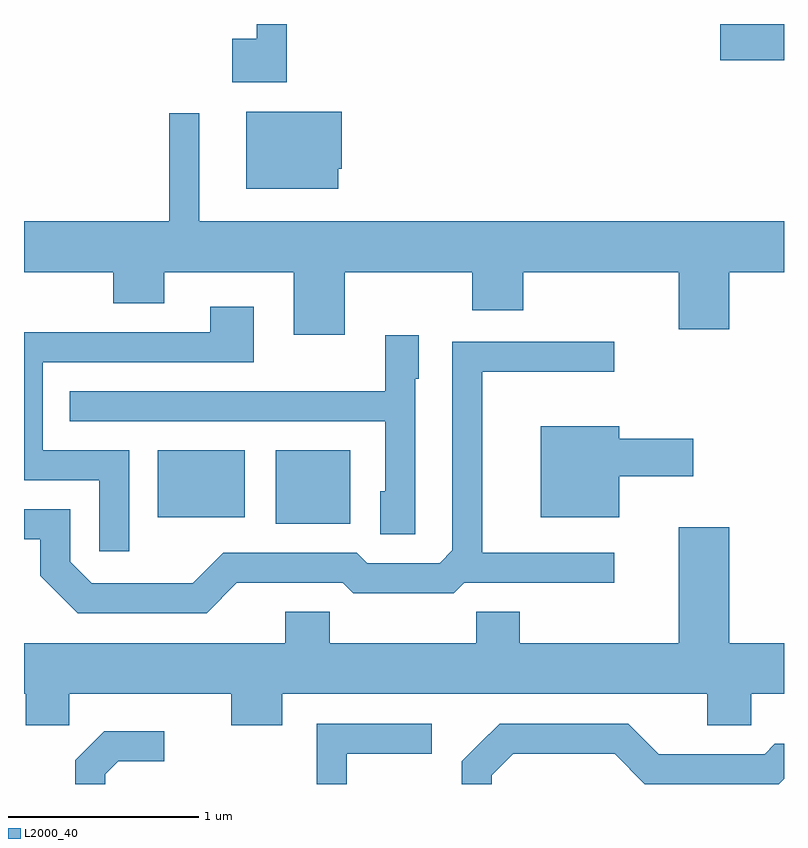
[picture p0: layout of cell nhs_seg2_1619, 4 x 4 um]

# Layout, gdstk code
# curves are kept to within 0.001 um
import gdstk
lib = gdstk.Library(unit=1e-6, precision=1e-09)
def R(c, l, rs):  # rectangles x0, y0, x1, y1
    for r in rs: c.add(gdstk.rectangle(r[:2], r[2:], *l))
def P(c, l, *ps):  # polygons
    for p in ps: c.add(gdstk.Polygon(p, *l))
L2000_40 = (2000, 40)

nhs_seg2_1619 = lib.new_cell('nhs_seg2_1619')
R(nhs_seg2_1619, L2000_40, [(232.936,1089.171,233.329,1089.559), (232.316,1089.206,232.774,1089.559), (235.276,1091.611,235.611,1091.802)])
P(nhs_seg2_1619, L2000_40, [(232.994,1091.802),(232.836,1091.802),(232.836,1091.724),(232.706,1091.724),(232.706,1091.496),(232.994,1091.496)],
  [(233.264,1091.041),(233.284,1091.041),(233.284,1091.339),(232.781,1091.339),(232.781,1090.936),(233.264,1090.936)],
  [(233.299,1090.496),(233.971,1090.496),(233.971,1090.296),(234.239,1090.296),(234.239,1090.496),(235.056,1090.496),(235.056,1090.196),(235.324,1090.196),(235.324,1090.496),(235.611,1090.496),(235.611,1090.764),(232.534,1090.764),(232.534,1091.333),(232.376,1091.333),(232.376,1090.764),(231.611,1090.764),(231.611,1090.496),(232.081,1090.496),(232.081,1090.331),(232.349,1090.331),(232.349,1090.496),(233.031,1090.496),(233.031,1090.166),(233.299,1090.166)],
  [(232.164,1089.559),(231.709,1089.559),(231.709,1090.021),(232.819,1090.021),(232.819,1090.314),(232.591,1090.314),(232.591,1090.179),(231.611,1090.179),(231.611,1089.401),(232.006,1089.401),(232.006,1089.028),(232.164,1089.028)],
  [(233.669,1089.936),(233.689,1089.936),(233.689,1090.164),(233.511,1090.164),(233.511,1089.869),(231.853,1089.869),(231.853,1089.711),(233.511,1089.711),(233.511,1089.344),(233.486,1089.344),(233.486,1089.116),(233.669,1089.116)],
  [(232.732,1088.861),(233.289,1088.861),(233.344,1088.806),(233.872,1088.806),(233.927,1088.861),(234.718,1088.861),(234.718,1089.019),(234.024,1089.019),(234.024,1089.971),(234.718,1089.971),(234.718,1090.129),(233.866,1090.129),(233.866,1089.032),(233.799,1088.964),(233.417,1088.964),(233.362,1089.019),(232.659,1089.019),(232.499,1088.859),(231.967,1088.859),(231.854,1088.972),(231.854,1089.249),(231.611,1089.249),(231.611,1089.091),(231.696,1089.091),(231.696,1088.899),(231.894,1088.701),(232.572,1088.701)],
  [(234.744,1089.421),(235.134,1089.421),(235.134,1089.619),(234.744,1089.619),(234.744,1089.684),(234.331,1089.684),(234.331,1089.206),(234.744,1089.206)],
  [(231.849,1088.276),(232.701,1088.276),(232.701,1088.111),(232.969,1088.111),(232.969,1088.276),(235.206,1088.276),(235.206,1088.111),(235.439,1088.111),(235.439,1088.276),(235.611,1088.276),(235.611,1088.544),(235.324,1088.544),(235.324,1089.154),(235.056,1089.154),(235.056,1088.544),(234.219,1088.544),(234.219,1088.709),(233.991,1088.709),(233.991,1088.544),(233.219,1088.544),(233.219,1088.709),(232.986,1088.709),(232.986,1088.544),(231.611,1088.544),(231.611,1088.276),(231.621,1088.276),(231.621,1088.111),(231.849,1088.111)],
  [(233.309,1087.961),(233.758,1087.961),(233.758,1088.119),(233.151,1088.119),(233.151,1087.802),(233.309,1087.802)],
  [(234.074,1087.849),(234.187,1087.961),(234.719,1087.961),(234.878,1087.802),(235.583,1087.802),(235.611,1087.83),(235.611,1088.014),(235.562,1088.013),(235.509,1087.959),(234.952,1087.959),(234.792,1088.119),(234.114,1088.119),(233.916,1087.922),(233.916,1087.802),(234.074,1087.802)],
  [(232.039,1087.854),(232.107,1087.921),(232.348,1087.921),(232.348,1088.079),(232.034,1088.079),(231.967,1088.013),(231.881,1087.927),(231.881,1087.802),(232.039,1087.802)])

lib.write_gds('nhs_seg2_1619.gds')
